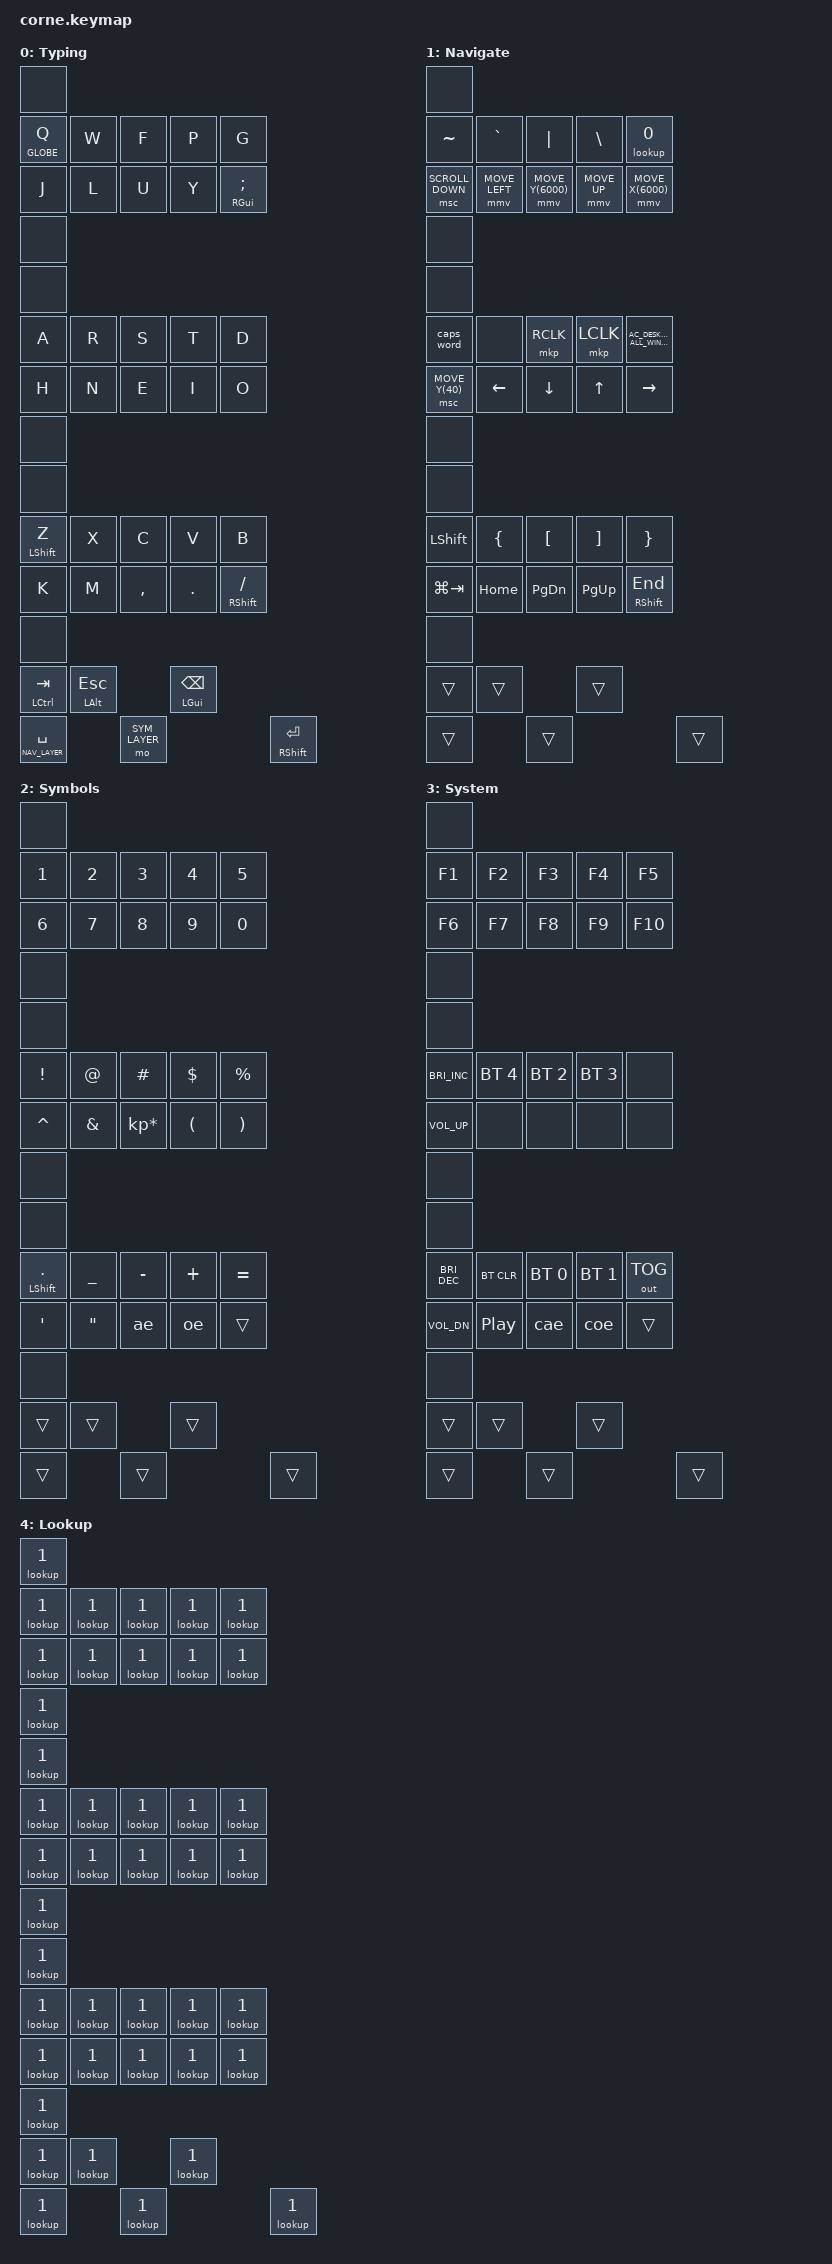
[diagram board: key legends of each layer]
/*
 * Copyright (c) 2020 The ZMK Contributors
 *
 * SPDX-License-Identifier: MIT
 */

#include <behaviors.dtsi>
#include <dt-bindings/zmk/keys.h>
#include <dt-bindings/zmk/bt.h>
#include <dt-bindings/zmk/pointing.h>
#include <dt-bindings/zmk/outputs.h>

#undef MOVE_UP 
#undef MOVE_DOWN 
#undef MOVE_LEFT 
#undef MOVE_RIGHT 
#define MOVE_UP MOVE_Y(-6000)
#define MOVE_DOWN MOVE_Y(6000)
#define MOVE_LEFT MOVE_X(-6000)
#define MOVE_RIGHT MOVE_X(6000)

#undef SCROLL_UP 
#undef SCROLL_DOWN
#define SCROLL_UP MOVE_Y(40)
#define SCROLL_DOWN MOVE_Y(-40)

#define NAV_LAYER 1
#define SYM_LAYER 2
#define SYSTEM_LAYER 3
#define LOOKUP_LAYER 4


&mmv {
    time-to-max-speed-ms = <500>;
};

&msc {
    time-to-max-speed-ms = <500>;
};

/ {
        behaviors {
                lookup: lookup {
                        compatible = "corne,lookup";
                        #binding-cells = <1>;
                };

                // Display synchronization over the existing split connection.
                // This behavior is never bound to a physical key.
                cu_relay: cu_relay {
                        compatible = "corne,utility-relay";
                        label = "cu_relay";
                        #binding-cells = <2>;
                };

                ht: holdtap {
                        compatible = "zmk,behavior-hold-tap";
                        label = "THUMB_HOLD_TAPS";
                        #binding-cells = <2>;
                        tapping-term-ms = <300>;
                        flavor = "balanced";
                        require-prior-idle-ms = <0>;
                        quick-tap-ms = <0>;
                        bindings = <&kp>, <&kp>;
                };
        };

        macros {
                ae: ae {
                        label = "ä";
                        compatible = "zmk,behavior-macro";
                        #binding-cells = <0>;
                        wait-ms = <40>;
                        tap-ms = <40>;
                        bindings
                                = <&macro_press &kp LALT>
                                , <&macro_tap &kp U>
                                , <&macro_release &kp LALT>
                                , <&macro_tap &kp A>
                                ;
                };
                oe: oe {
                        label = "ö";
                        compatible = "zmk,behavior-macro";
                        #binding-cells = <0>;
                        wait-ms = <40>;
                        tap-ms = <40>;
                        bindings
                                = <&macro_press &kp LALT>
                                , <&macro_tap &kp U>
                                , <&macro_release &kp LALT>
                                , <&macro_tap &kp O>
                                ;
                };
                cae: cae {
                        label = "Ä";
                        compatible = "zmk,behavior-macro";
                        #binding-cells = <0>;
                        wait-ms = <40>;
                        tap-ms = <40>;
                        bindings
                                = <&macro_press &kp LALT>
                                , <&macro_tap &kp U>
                                , <&macro_release &kp LALT>
                                , <&macro_press &kp LSHFT>
                                , <&macro_tap &kp A>
                                , <&macro_release &kp LSHFT>
                                ;
                };
                coe: coe {
                        label = "Ö";
                        compatible = "zmk,behavior-macro";
                        #binding-cells = <0>;
                        wait-ms = <40>;
                        tap-ms = <40>;
                        bindings
                                = <&macro_press &kp LALT>
                                , <&macro_tap &kp U>
                                , <&macro_release &kp LALT>
                                , <&macro_press &kp LSHFT>
                                , <&macro_tap &kp O>
                                , <&macro_release &kp LSHFT>
                                ;
                };
        };

        
        combos {
                compatible = "zmk,combos";
                combo_mo1 {
                    timeout-ms = <50>;
                    key-positions = <39 40>;
                    bindings = <&mo SYSTEM_LAYER>;
                    // Combos precede the keymap; never execute this in lookup.
                    layers = <0 1 2 3>;
                };
        };

        keymap {
                compatible = "zmk,keymap";

                default_layer {
                        display-name = "Typing";
                        bindings = <
   &none
   &ht GLOBE Q &kp W &kp F &kp P &kp G
   &kp J &kp L &kp U &kp Y &ht RGUI SEMI
   &none

   &none
   &kp A &kp R &kp S &kp T &kp D
   &kp H &kp N &kp E &kp I &kp O
   &none

   &none
   &ht LSHFT Z &kp X &kp C &kp V &kp B
   &kp K &kp M  &kp COMMA &kp DOT &ht RSHFT FSLH 
   &none

   &ht LCTRL TAB &ht LALT ESC &ht LGUI BSPC   
   &lt NAV_LAYER SPACE &mo SYM_LAYER &ht RSHFT RET
                        >;
                };

                nav_layer {
                        display-name = "Navigate";
                        bindings = <
   &none 
   &kp TILDE &kp GRAVE &kp PIPE &kp BSLH &lookup 0
   &msc SCROLL_DOWN &mmv MOVE_LEFT &mmv MOVE_DOWN &mmv MOVE_UP &mmv MOVE_RIGHT
   &none

   &none 
   &caps_word &none &mkp RCLK &mkp LCLK &kp C_AC_DESKTOP_SHOW_ALL_WINDOWS
   &msc SCROLL_UP &kp LEFT &kp DOWN &kp UP &kp RIGHT
   &none

   &none
   &kp LSHFT &kp LBRC &kp LBKT &kp RBKT &kp RBRC
   &kp LG(TAB) &kp HOME &kp PG_DN &kp PG_UP &ht RSHFT END
   &none

   &trans &trans &trans
   &trans &trans &trans
                        >;
                };

                sym_layer {
                        display-name = "Symbols";
                        bindings = <
   &none
   &kp N1 &kp N2 &kp N3 &kp N4 &kp N5
   &kp N6 &kp N7 &kp N8 &kp N9 &kp N0
   &none

   &none
   &kp EXCL &kp AT &kp HASH &kp DLLR &kp PRCNT   
   &kp CARET &kp AMPS  &kp KP_MULTIPLY &kp LPAR &kp RPAR
   &none

   &none
   &ht LSHFT DOT &kp UNDER &kp MINUS &kp PLUS &kp EQUAL  
   &kp APOS &kp DQT &ae &oe &trans
   &none

   &trans &trans &trans
   &trans &trans &trans
                        >;
                };

                system_layer {
                        display-name = "System";
                        bindings = <
   &none
   &kp F1 &kp F2 &kp F3 &kp F4 &kp F5 
   &kp F6 &kp F7 &kp F8 &kp F9 &kp F10
   &none

   &none
   &kp C_BRIGHTNESS_INC &bt BT_SEL 4 &bt BT_SEL 2 &bt BT_SEL 3 &none
   &kp C_VOL_UP &none &none &none &none
   &none

   &none
   &kp C_BRIGHTNESS_DEC &bt BT_CLR &bt BT_SEL 0 &bt BT_SEL 1 &out OUT_TOG
   &kp C_VOL_DN &kp C_PLAY_PAUSE &cae &coe &trans
   &none 

   &trans &trans &trans
   &trans &trans &trans
                        >;
                };

                // All positions are opaque, including absent outer columns.
                // No inspected binding can fall through to keyboard, mouse,
                // macro, Bluetooth, or output behavior. Nav + G exits after
                // every key is released, leaving all 36 keys inspectable.
                lookup_layer {
                        display-name = "Lookup";
                        bindings = <
   &lookup 1
   &lookup 1 &lookup 1 &lookup 1 &lookup 1 &lookup 1
   &lookup 1 &lookup 1 &lookup 1 &lookup 1 &lookup 1
   &lookup 1

   &lookup 1
   &lookup 1 &lookup 1 &lookup 1 &lookup 1 &lookup 1
   &lookup 1 &lookup 1 &lookup 1 &lookup 1 &lookup 1
   &lookup 1

   &lookup 1
   &lookup 1 &lookup 1 &lookup 1 &lookup 1 &lookup 1
   &lookup 1 &lookup 1 &lookup 1 &lookup 1 &lookup 1
   &lookup 1

   &lookup 1 &lookup 1 &lookup 1
   &lookup 1 &lookup 1 &lookup 1
                        >;
                };

        };
};
